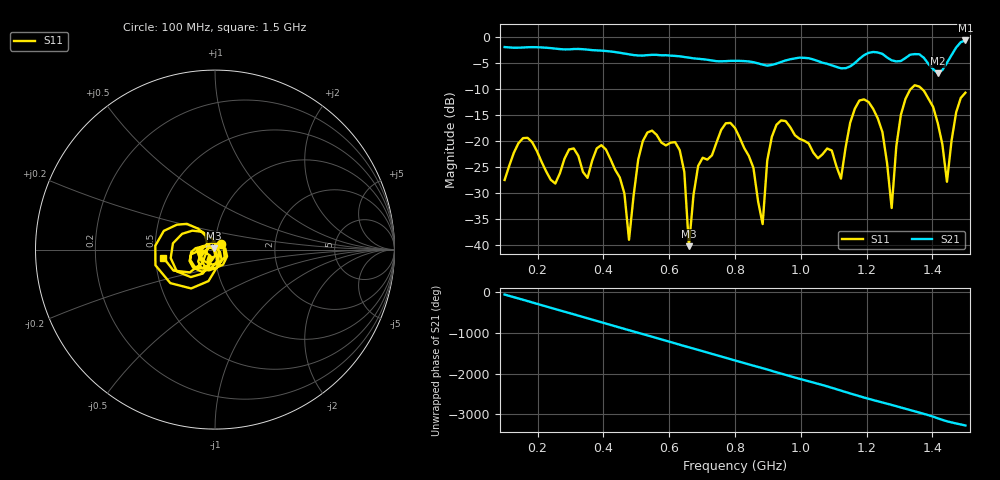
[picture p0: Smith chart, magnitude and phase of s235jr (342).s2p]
! NanoVNA-App
! Date: 2025-09-25 15:06:49
! Start: 100MHz Stop: 1,5GHz Points: 101
! S-Parameter data: F S11 S21 S12 S22
# Hz S RI R 50
!  Frequency  S11_Real  S11_Imag  S21_Real  S21_Imag  S12_Real  S12_Imag  S22_Real  S22_Imag
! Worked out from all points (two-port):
!   101 points, 100 MHz to 1.5 GHz, reference 50 ohm
!   highest |S21| = -0.70 dB at 1.5 GHz (marker M1); lowest = -7.0 dB at 1.416 GHz (marker M2)
!   |S21| within 3 dB of the highest: start of sweep to 624 MHz; 1.188 GHz to 1.257 GHz (68.15 MHz wide, 5.57 % of centre) (the widest 2 of 4)
!   lowest |S11| = -40.2 dB at 660 MHz (marker M3), VSWR 1.02, Z = 49.3 + j0.635 ohm
!   |S11| at or under -10 dB: start of sweep to 1.334 GHz; 1.368 GHz to end of sweep
!   S12 and S22 are empty: the file has one direction only
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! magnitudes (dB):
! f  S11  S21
! 100 MHz  -27.5  -2.0
! 156 MHz  -19.4  -2.1
! 338 MHz  -25.9  -2.4
! 408 MHz  -21.6  -2.7
! 478 MHz  -38.9  -3.4
! 520 MHz  -20.0  -3.6
! 576 MHz  -20.3  -3.5
! 632 MHz  -21.7  -3.7
! 660 MHz  -40.2  -4.0
! 688 MHz  -24.8  -4.2
! 800 MHz  -17.5  -4.6
! 884 MHz  -35.9  -5.3
! 926 MHz  -16.9  -5.2
! 1.038 GHz  -22.2  -4.3
! 1.122 GHz  -27.2  -6.0
! 1.206 GHz  -12.5  -3.1
! 1.276 GHz  -32.8  -4.5
! 1.304 GHz  -14.9  -4.6
! 1.332 GHz  -10.1  -3.4
! 1.416 GHz  -16.5  -7.0
! 1.444 GHz  -27.8  -5.0
! 1.5 GHz  -10.7  -0.7
